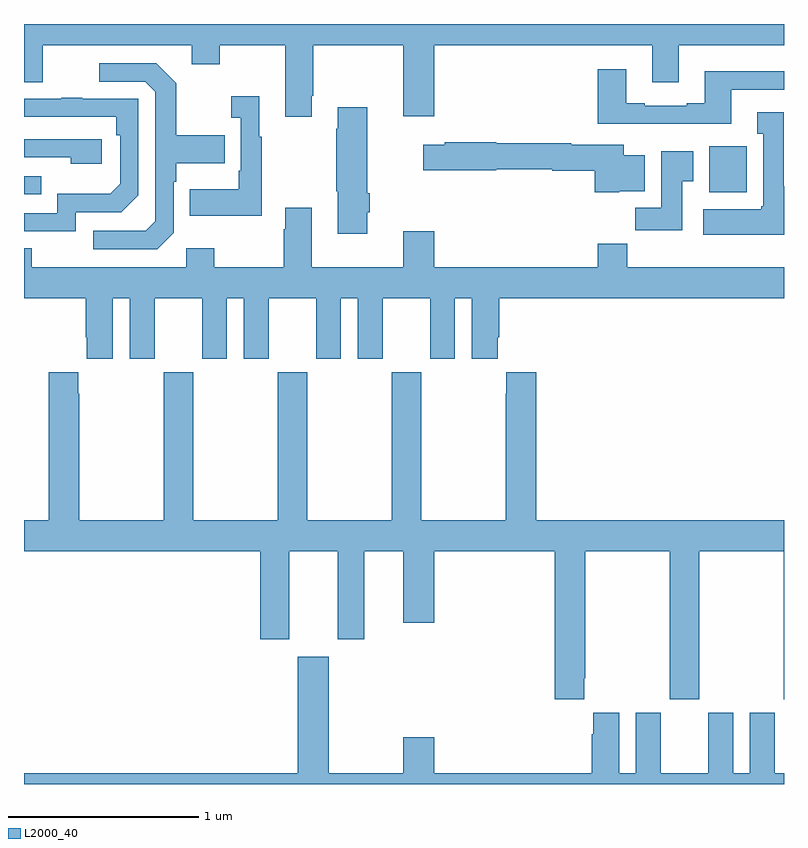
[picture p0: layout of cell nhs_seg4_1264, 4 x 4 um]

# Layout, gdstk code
import gdstk
lib = gdstk.Library(unit=1e-6, precision=1e-09)
def R(c, l, rs):  # rectangles x0, y0, x1, y1
    for r in rs: c.add(gdstk.rectangle(r[:2], r[2:], *l))
def P(c, l, *ps):  # polygons
    for p in ps: c.add(gdstk.Polygon(p, *l))
L2000_40 = (2000, 40)

nhs_seg4_1264 = lib.new_cell('nhs_seg4_1264')
R(nhs_seg4_1264, L2000_40, [(175,828.003,175.091,828.099), (178.607,828.014,178.804,828.256)])
P(nhs_seg4_1264, L2000_40, [(176.515,828.523),(176.523,828.523),(176.523,828.788),(176.996,828.788),(176.996,828.414),(177.16,828.414),(177.16,828.788),(178.307,828.788),(178.307,828.594),(178.447,828.594),(178.447,828.788),(179,828.788),(179,828.9),(175,828.9),(175,828.594),(175.099,828.594),(175.099,828.788),(175.883,828.788),(175.883,828.689),(176.031,828.689),(176.031,828.788),(176.375,828.788),(176.375,828.411),(176.515,828.411)],
  [(175.788,827.802),(175.788,828.071),(175.801,828.071),(175.801,828.167),(176.057,828.167),(176.057,828.315),(175.801,828.315),(175.801,828.587),(175.695,828.693),(175.395,828.693),(175.395,828.597),(175.638,828.597),(175.692,828.543),(175.692,827.862),(175.641,827.811),(175.365,827.811),(175.365,827.715),(175.701,827.715)],
  [(178.723,828.555),(179,828.555),(179,828.652),(178.583,828.652),(178.583,828.484),(178.487,828.484),(178.487,828.471),(178.267,828.471),(178.267,828.484),(178.171,828.484),(178.171,828.661),(178.019,828.661),(178.019,828.374),(178.723,828.374)],
  [(176.251,828.307),(176.239,828.307),(176.239,828.52),(176.091,828.52),(176.091,828.407),(176.142,828.407),(176.142,828.127),(176.13,828.127),(176.13,828.031),(175.873,828.031),(175.873,827.891),(176.251,827.891)],
  [(175.272,827.91),(175.512,827.91),(175.602,828),(175.602,828.507),(175.307,828.507),(175.307,828.512),(175.195,828.512),(175.195,828.507),(175,828.507),(175,828.411),(175.486,828.411),(175.486,828.314),(175.506,828.314),(175.506,828.06),(175.453,828.007),(175.176,828.007),(175.176,827.904),(175,827.904),(175,827.808),(175.272,827.808)],
  [(176.806,827.908),(176.819,827.908),(176.819,828.008),(176.806,828.008),(176.806,828.463),(176.651,828.463),(176.651,828.35),(176.644,828.35),(176.644,828.019),(176.651,828.019),(176.651,827.796),(176.806,827.796)],
  [(179,828.046),(178.999,828.046),(178.999,828.436),(178.859,828.436),(178.859,828.323),(178.892,828.323),(178.892,827.94),(178.879,827.94),(178.879,827.926),(178.575,827.926),(178.575,827.792),(179,827.792)],
  [(175.408,828.294),(175,828.294),(175,828.198),(175.247,828.198),(175.247,828.164),(175.408,828.164)],
  [(178.134,828.02),(178.267,828.02),(178.267,828.208),(178.156,828.208),(178.156,828.265),(177.88,828.265),(177.88,828.272),(177.486,828.272),(177.486,828.278),(177.214,828.278),(177.214,828.265),(177.102,828.265),(177.102,828.131),(177.486,828.131),(177.486,828.136),(177.78,828.136),(177.78,828.128),(178.004,828.128),(178.004,828.014),(178.134,828.014)],
  [(178.465,828.073),(178.522,828.073),(178.522,828.229),(178.355,828.229),(178.355,827.932),(178.216,827.932),(178.216,827.814),(178.465,827.814)],
  [(175.041,827.719),(175,827.719),(175,827.456),(175.325,827.456),(175.325,827.251),(175.331,827.251),(175.331,827.139),(175.468,827.139),(175.468,827.456),(175.556,827.456),(175.556,827.139),(175.687,827.139),(175.687,827.456),(175.937,827.456),(175.937,827.139),(176.068,827.139),(176.068,827.456),(176.156,827.456),(176.156,827.139),(176.287,827.139),(176.287,827.456),(176.537,827.456),(176.537,827.139),(176.668,827.139),(176.668,827.456),(176.756,827.456),(176.756,827.139),(176.887,827.139),(176.887,827.456),(177.137,827.456),(177.137,827.139),(177.268,827.139),(177.268,827.456),(177.356,827.456),(177.356,827.139),(177.493,827.139),(177.493,827.251),(177.5,827.251),(177.5,827.456),(179,827.456),(179,827.62),(178.175,827.62),(178.175,827.744),(178.019,827.744),(178.019,827.62),(177.16,827.62),(177.16,827.809),(176.996,827.809),(176.996,827.62),(176.515,827.62),(176.515,827.932),(176.375,827.932),(176.375,827.819),(176.368,827.819),(176.368,827.62),(176.001,827.62),(176.001,827.719),(175.854,827.719),(175.854,827.62),(175.041,827.62)],
  [(177.695,827.068),(177.539,827.068),(177.539,826.955),(177.535,826.955),(177.535,826.288),(177.09,826.288),(177.09,827.068),(176.935,827.068),(176.935,826.288),(176.49,826.288),(176.49,827.068),(176.335,827.068),(176.335,826.288),(175.89,826.288),(175.89,827.068),(175.735,827.068),(175.735,826.288),(175.29,826.288),(175.29,826.955),(175.285,826.955),(175.285,827.068),(175.13,827.068),(175.13,826.288),(175,826.288),(175,826.124),(176.243,826.124),(176.243,825.663),(176.395,825.663),(176.395,826.124),(176.651,826.124),(176.651,825.663),(176.791,825.663),(176.791,826.124),(176.996,826.124),(176.996,825.75),(177.16,825.75),(177.16,826.124),(177.794,826.124),(177.794,825.345),(177.949,825.345),(177.949,825.457),(177.954,825.457),(177.954,826.124),(178.399,826.124),(178.399,825.345),(178.554,825.345),(178.554,826.124),(178.999,826.124),(178.999,825.345),(179,825.345),(179,826.288),(177.695,826.288)],
  [(179,824.956),(178.951,824.956),(178.951,825.274),(178.82,825.274),(178.82,824.956),(178.732,824.956),(178.732,825.274),(178.601,825.274),(178.601,824.956),(178.351,824.956),(178.351,825.274),(178.22,825.274),(178.22,824.956),(178.132,824.956),(178.132,825.274),(177.995,825.274),(177.995,825.161),(177.989,825.161),(177.989,824.956),(177.16,824.956),(177.16,825.145),(176.996,825.145),(176.996,824.956),(176.605,824.956),(176.605,825.571),(176.441,825.571),(176.441,824.956),(175,824.956),(175,824.9),(179,824.9)])

lib.write_gds('nhs_seg4_1264.gds')
